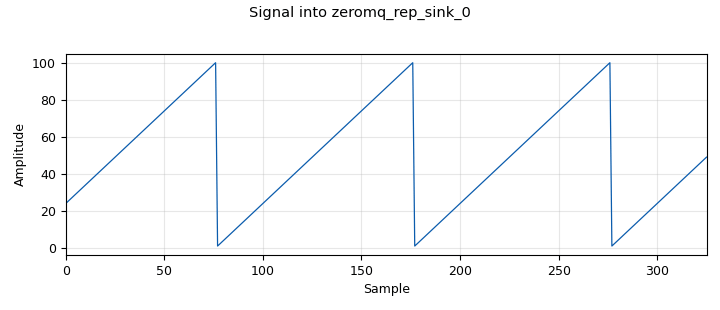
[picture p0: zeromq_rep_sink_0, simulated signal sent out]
<?xml version='1.0' encoding='utf-8'?>
<?grc format='1' created='3.7.13'?>
<flow_graph>
<block>
<key>options</key>
<param><key>id</key><value>tb_zero_mq</value></param>
<param><key>generate_options</key><value>no_gui</value></param>
</block>
<block>
<key>variable</key>
<param><key>id</key><value>samp_rate</value></param>
<param><key>value</key><value>100</value></param>
</block>
<block>
<key>variable</key>
<param><key>id</key><value>socket_addr</value></param>
<param><key>value</key><value>'tcp://127.0.0.1:8000'</value></param>
</block>
<block>
<key>analog_sig_source_x</key>
<param><key>id</key><value>analog_sig_source_x_0</value></param>
<param><key>amp</key><value>100</value></param>
<param><key>freq</key><value>1</value></param>
<param><key>offset</key><value>1</value></param>
<param><key>type</key><value>short</value></param>
<param><key>samp_rate</key><value>100</value></param>
<param><key>waveform</key><value>analog.GR_SAW_WAVE</value></param>
</block>
<block>
<key>blocks_null_sink</key>
<param><key>id</key><value>blocks_null_sink_0</value></param>
<param><key>bus_conns</key><value>[[0,],]</value></param>
<param><key>_enabled</key><value>0</value></param>
<param><key>type</key><value>complex</value></param>
</block>
<block>
<key>blocks_short_to_float</key>
<param><key>id</key><value>blocks_short_to_float_0</value></param>
<param><key>_enabled</key><value>0</value></param>
<param><key>scale</key><value>1</value></param>
</block>
<block>
<key>blocks_throttle</key>
<param><key>id</key><value>blocks_throttle_0</value></param>
<param><key>samples_per_second</key><value>samp_rate</value></param>
<param><key>type</key><value>short</value></param>
</block>
<block>
<key>qtgui_time_sink_x</key>
<param><key>id</key><value>qtgui_time_sink_x_0</value></param>
<param><key>_enabled</key><value>0</value></param>
<param><key>color1</key><value>"blue"</value></param>
<param><key>label1</key><value></value></param>
<param><key>color2</key><value>"red"</value></param>
<param><key>label2</key><value></value></param>
<param><key>size</key><value>samp_rate</value></param>
<param><key>srate</key><value>samp_rate</value></param>
<param><key>type</key><value>complex</value></param>
<param><key>ymin</key><value>0</value></param>
</block>
<block>
<key>qtgui_time_sink_x</key>
<param><key>id</key><value>qtgui_time_sink_x_0_0</value></param>
<param><key>autoscale</key><value>True</value></param>
<param><key>_enabled</key><value>0</value></param>
<param><key>color1</key><value>"blue"</value></param>
<param><key>label1</key><value></value></param>
<param><key>size</key><value>samp_rate</value></param>
<param><key>srate</key><value>samp_rate</value></param>
<param><key>type</key><value>float</value></param>
<param><key>ymin</key><value>0</value></param>
</block>
<block>
<key>zeromq_rep_sink</key>
<param><key>id</key><value>zeromq_rep_sink_0</value></param>
<param><key>address</key><value>socket_addr</value></param>
<param><key>hwm</key><value>10</value></param>
<param><key>type</key><value>short</value></param>
<param><key>timeout</key><value>100</value></param>
</block>
<block>
<key>zeromq_req_source</key>
<param><key>id</key><value>zeromq_req_source_0</value></param>
<param><key>address</key><value>socket_addr</value></param>
<param><key>_enabled</key><value>0</value></param>
<param><key>hwm</key><value>200</value></param>
<param><key>type</key><value>complex</value></param>
<param><key>timeout</key><value>100</value></param>
</block>
<block>
<key>zeromq_sub_msg_source</key>
<param><key>id</key><value>zeromq_sub_msg_source_0</value></param>
<param><key>_enabled</key><value>0</value></param>
<param><key>timeout</key><value>100</value></param>
</block>
<connection><source_block_id>analog_sig_source_x_0</source_block_id><sink_block_id>blocks_throttle_0</sink_block_id><source_key>0</source_key><sink_key>0</sink_key></connection>
<connection><source_block_id>blocks_short_to_float_0</source_block_id><sink_block_id>qtgui_time_sink_x_0_0</sink_block_id><source_key>0</source_key><sink_key>0</sink_key></connection>
<connection><source_block_id>blocks_throttle_0</source_block_id><sink_block_id>blocks_short_to_float_0</sink_block_id><source_key>0</source_key><sink_key>0</sink_key></connection>
<connection><source_block_id>blocks_throttle_0</source_block_id><sink_block_id>zeromq_rep_sink_0</sink_block_id><source_key>0</source_key><sink_key>0</sink_key></connection>
<connection><source_block_id>zeromq_req_source_0</source_block_id><sink_block_id>blocks_null_sink_0</sink_block_id><source_key>0</source_key><sink_key>0</sink_key></connection>
<connection><source_block_id>zeromq_req_source_0</source_block_id><sink_block_id>qtgui_time_sink_x_0</sink_block_id><source_key>0</source_key><sink_key>0</sink_key></connection>
</flow_graph>
